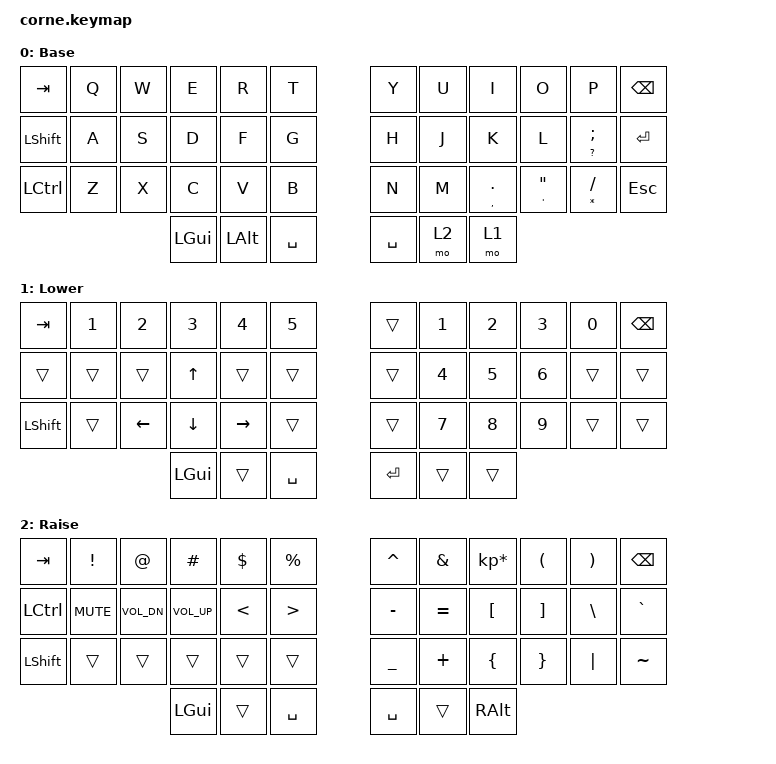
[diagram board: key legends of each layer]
/*
 * Copyright (c) 2020 The ZMK Contributors
 *
 * SPDX-License-Identifier: MIT
 */

#include <behaviors.dtsi>
#include <dt-bindings/zmk/keys.h>

/ {
    combos {
        compatible = "zmk,combos";

        Escape {
            bindings = <&kp ESCAPE>;
            key-positions = <0 11>;
        };

        OpenParenthesis {
            bindings = <&kp LEFT_PARENTHESIS>;
            key-positions = <6 7>;
        };

        OpenBrace {
            bindings = <&kp LEFT_BRACE>;
            key-positions = <18 19>;
        };

        OpenBracket {
            bindings = <&kp LEFT_BRACKET>;
            key-positions = <30 31>;
        };

        CloseParenthasis {
            bindings = <&kp RIGHT_PARENTHESIS>;
            key-positions = <7 8>;
        };

        CloseBrace {
            bindings = <&kp RIGHT_BRACE>;
            key-positions = <19 20>;
        };

        CloseBracket {
            bindings = <&kp RIGHT_BRACKET>;
            key-positions = <32 31>;
        };

        LessThan {
            bindings = <&kp LESS_THAN>;
            key-positions = <3 4>;
        };

        GreatherThan {
            bindings = <&kp GREATER_THAN>;
            key-positions = <4 5>;
        };

        Enter {
            bindings = <&kp ENTER>;
            key-positions = <38 39>;
        };
    };

    keymap {
        compatible = "zmk,keymap";

        default_layer {
            // -----------------------------------------------------------------------------------------
            // |  TAB |  Q  |  W  |  E  |  R  |  T  |   |  Y  |  U   |  I  |  O  |  P  | BSPC |
            // | SHFT |  A  |  S  |  D  |  F  |  G  |   |  H  |  J   |  K  |  L  |  ;  | ENTR |
            // | CTRL |  Z  |  X  |  C  |  V  |  B  |   |  N  |  M   | ./, | '/" |  /* | EQU |
            //                    | GUI | LWR | SPC |   | SPC | L2   | L1  |

            bindings = <
&kp TAB         &kp Q  &kp W  &kp E     &kp R         &kp T        &kp Y      &kp U  &kp I          &kp O                  &kp P              &kp BSPC
&kp LEFT_SHIFT  &kp A  &kp S  &kp D     &kp F         &kp G        &kp H      &kp J  &kp K          &kp L                  &mt QUESTION SEMI  &kp ENTER
&kp LCTRL       &kp Z  &kp X  &kp C     &kp V         &kp B        &kp N      &kp M  &mt COMMA DOT  &mt SQT DOUBLE_QUOTES  &mt STAR FSLH      &kp ESC
                              &kp LGUI  &kp LEFT_ALT  &kp SPACE    &kp SPACE  &mo 2  &mo 1
            >;

            display-name = "Base";
        };

        lower_layer {
            // -----------------------------------------------------------------------------------------
            // | SYSR |     |     |     |     |     |   |     |  1  |  2  |  3  |  0  |      |
            // |      |     |     | UP  |     |     |   |     |  4  |  5  |  6  |     |      |
            // |      |     | LFT | DWN | RGT |     |   |     |  7  |  8  |  9  |     |      |
            //                    |     |     | SPC |   | SPC |     |     |

            bindings = <
&kp TAB    &kp N1  &kp N2          &kp N3          &kp N4           &kp N5       &trans   &kp N1  &kp N2  &kp N3  &kp N0  &kp BSPC
&trans     &trans  &trans          &kp UP_ARROW    &trans           &trans       &trans   &kp N4  &kp N5  &kp N6  &trans  &trans
&kp LSHFT  &trans  &kp LEFT_ARROW  &kp DOWN_ARROW  &kp RIGHT_ARROW  &trans       &trans   &kp N7  &kp N8  &kp N9  &trans  &trans
                                   &kp LGUI        &trans           &kp SPACE    &kp RET  &trans  &trans
            >;

            display-name = "Lower";
        };

        raise_layer {
            // -----------------------------------------------------------------------------------------
            // |  TAB |  !  |  @  |  #  |  &  |  %  |   |  ^  |  $  |  *  |  (  |  )  | BSPC |
            // | CTRL |MUTE |V_UP |V_DWN|  <  |  >  |   |  -  |  =  |  [  |  ]  |  \  |  `   |
            // | SHFT |     |     |     |     |     |   |  _  |  +  |  {  |  }  | "|" |  ~   |
            //                    | GUI |     | SPC |   | SPC |     | ALT |

            bindings = <
&kp TAB    &kp EXCL    &kp AT        &kp HASH         &kp DLLR       &kp PRCNT           &kp CARET  &kp AMPS   &kp KP_MULTIPLY  &kp LPAR  &kp RPAR  &kp BSPC
&kp LCTRL  &kp C_MUTE  &kp C_VOL_DN  &kp C_VOLUME_UP  &kp LESS_THAN  &kp GREATER_THAN    &kp MINUS  &kp EQUAL  &kp LBKT         &kp RBKT  &kp BSLH  &kp GRAVE
&kp LSHFT  &trans      &trans        &trans           &trans         &trans              &kp UNDER  &kp PLUS   &kp LBRC         &kp RBRC  &kp PIPE  &kp TILDE
                                     &kp LGUI         &trans         &kp SPACE           &kp SPACE  &trans     &kp RALT
            >;

            display-name = "Raise";
        };
    };
};

//For new Layers
// -----------------------------------------------------------------------------------------
// |      |     |     |     |     |     |   |     |     |     |     |     |      |
// |      |     |     |     |     |     |   |     |     |     |     |     |      |
// |      |     |     |     |     |     |   |     |     |     |     |     |      |
// 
